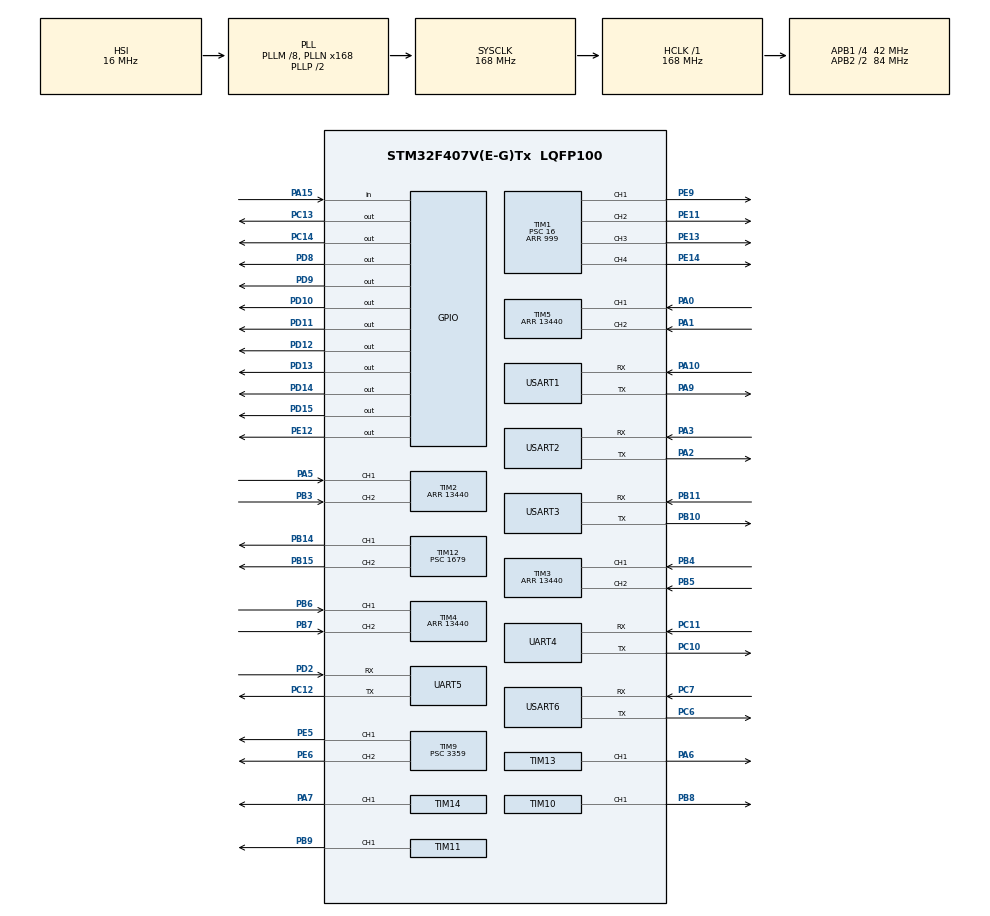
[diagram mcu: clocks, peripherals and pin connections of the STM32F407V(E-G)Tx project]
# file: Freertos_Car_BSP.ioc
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Dma.Request0=USART1_RX
Dma.Request1=USART1_TX
Dma.Request2=USART2_RX
Dma.USART1_RX.0.Direction=DMA_PERIPH_TO_MEMORY
Dma.USART1_RX.0.FIFOMode=DMA_FIFOMODE_DISABLE
Dma.USART1_RX.0.Instance=DMA2_Stream2
Dma.USART1_RX.0.MemDataAlignment=DMA_MDATAALIGN_BYTE
Dma.USART1_RX.0.MemInc=DMA_MINC_ENABLE
Dma.USART1_RX.0.Mode=DMA_NORMAL
Dma.USART1_RX.0.PeriphDataAlignment=DMA_PDATAALIGN_BYTE
Dma.USART1_RX.0.PeriphInc=DMA_PINC_DISABLE
Dma.USART1_RX.0.Priority=DMA_PRIORITY_MEDIUM
Dma.USART1_TX.1.Direction=DMA_MEMORY_TO_PERIPH
Dma.USART1_TX.1.FIFOMode=DMA_FIFOMODE_DISABLE
Dma.USART1_TX.1.Instance=DMA2_Stream7
Dma.USART1_TX.1.MemDataAlignment=DMA_MDATAALIGN_BYTE
Dma.USART1_TX.1.MemInc=DMA_MINC_ENABLE
Dma.USART1_TX.1.Mode=DMA_NORMAL
Dma.USART1_TX.1.PeriphDataAlignment=DMA_PDATAALIGN_BYTE
Dma.USART1_TX.1.PeriphInc=DMA_PINC_DISABLE
Dma.USART1_TX.1.Priority=DMA_PRIORITY_MEDIUM
Dma.USART2_RX.2.Direction=DMA_PERIPH_TO_MEMORY
Dma.USART2_RX.2.FIFOMode=DMA_FIFOMODE_DISABLE
Dma.USART2_RX.2.Instance=DMA1_Stream5
Dma.USART2_RX.2.MemDataAlignment=DMA_MDATAALIGN_BYTE
Dma.USART2_RX.2.MemInc=DMA_MINC_ENABLE
Dma.USART2_RX.2.Mode=DMA_NORMAL
Dma.USART2_RX.2.PeriphDataAlignment=DMA_PDATAALIGN_BYTE
Dma.USART2_RX.2.PeriphInc=DMA_PINC_DISABLE
Dma.USART2_RX.2.Priority=DMA_PRIORITY_MEDIUM
FREERTOS.Tasks01=defaultTask,-3,128,StartDefaultTask,Default,NULL,Dynamic,NULL,NULL;myTask_key,1,128,key_Task,Default,NULL,Dynamic,NULL,NULL;myTask_led,-3,128,led_Task,Default,NULL,Dynamic,NULL,NULL;myTask_IMU,0,256,IMU_Task,Default,NULL,Dynamic,NULL,NULL;myTask_debug,-2,512,deubg_Task,Default,NULL,Dynamic,NULL,NULL;myTask_motor,1,256,motor_Task,Default,NULL,Dynamic,NULL,NULL;myTask_usart,0,512,usart_Task,Default,NULL,Dynamic,NULL,NULL;myTask_oled,-2,128,oled_Task,Default,NULL,Dynamic,NULL,NULL;myTask_servo,1,256,servo_Task,Default,NULL,Dynamic,NULL,NULL;myTask_speed,2,128,speed_Task,Default,NULL,Dynamic,NULL,NULL;myTask_pid,2,256,pid_Task,Default,NULL,Dynamic,NULL,NULL;myTask_doing,2,512,doing_Task,Default,NULL,Dynamic,NULL,NULL
Mcu.Family=STM32F4
Mcu.Name=STM32F407V(E-G)Tx
Mcu.Package=LQFP100
NVIC.DMA1_Stream5_IRQn=true\:5\:0\:true\:false\:true\:true\:false\:true
NVIC.DMA2_Stream2_IRQn=true\:5\:0\:false\:false\:true\:true\:false\:true
NVIC.DMA2_Stream7_IRQn=true\:5\:0\:false\:false\:true\:true\:false\:true
NVIC.PriorityGroup=NVIC_PRIORITYGROUP_4
NVIC.TIM2_IRQn=true\:5\:0\:false\:false\:true\:true\:true\:true
NVIC.TIM3_IRQn=true\:5\:0\:false\:false\:true\:true\:true\:true
NVIC.TIM4_IRQn=true\:5\:0\:false\:false\:true\:true\:true\:true
NVIC.TIM5_IRQn=true\:5\:0\:false\:false\:true\:true\:true\:true
NVIC.TIM6_DAC_IRQn=true\:5\:0\:false\:false\:true\:true\:true\:true
NVIC.TIM7_IRQn=true\:0\:0\:false\:false\:true\:false\:false\:true
NVIC.TimeBase=TIM7_IRQn
NVIC.TimeBaseIP=TIM7
NVIC.UART4_IRQn=true\:5\:0\:false\:false\:true\:true\:true\:true
NVIC.UART5_IRQn=true\:5\:0\:false\:false\:true\:true\:true\:true
NVIC.USART1_IRQn=true\:5\:0\:true\:false\:true\:true\:true\:true
NVIC.USART2_IRQn=true\:5\:0\:true\:false\:true\:true\:true\:true
NVIC.USART3_IRQn=true\:5\:0\:false\:false\:true\:true\:true\:true
NVIC.USART6_IRQn=true\:5\:0\:false\:false\:true\:true\:true\:true
PA0-WKUP.Signal=S_TIM5_CH1
PA1.Signal=S_TIM5_CH2
PA10.Mode=Asynchronous
PA10.Signal=USART1_RX
PA13.Mode=Serial_Wire
PA13.Signal=SYS_JTMS-SWDIO
PA14.Mode=Serial_Wire
PA14.Signal=SYS_JTCK-SWCLK
PA15.GPIO_PuPd=GPIO_PULLUP
PA15.Signal=GPIO_Input
PA2.Mode=Asynchronous
PA2.Signal=USART2_TX
PA3.Mode=Asynchronous
PA3.Signal=USART2_RX
PA5.Signal=S_TIM2_CH1_ETR
PA6.Signal=S_TIM13_CH1
PA7.Signal=S_TIM14_CH1
PA9.Mode=Asynchronous
PA9.Signal=USART1_TX
PB10.Mode=Asynchronous
PB10.Signal=USART3_TX
PB11.Mode=Asynchronous
PB11.Signal=USART3_RX
PB14.Signal=S_TIM12_CH1
PB15.Signal=S_TIM12_CH2
PB3.Signal=S_TIM2_CH2
PB4.Signal=S_TIM3_CH1
PB5.Signal=S_TIM3_CH2
PB6.Signal=S_TIM4_CH1
PB7.Signal=S_TIM4_CH2
PB8.Signal=S_TIM10_CH1
PB9.Signal=S_TIM11_CH1
PC10.Mode=Asynchronous
PC10.Signal=UART4_TX
PC11.Mode=Asynchronous
PC11.Signal=UART4_RX
PC12.Mode=Asynchronous
PC12.Signal=UART5_TX
PC13-ANTI_TAMP.GPIO_Speed=GPIO_SPEED_FREQ_LOW
PC13-ANTI_TAMP.Signal=GPIO_Output
PC14-OSC32_IN.Signal=GPIO_Output
PC6.Mode=Asynchronous
PC6.Signal=USART6_TX
PC7.Mode=Asynchronous
PC7.Signal=USART6_RX
PD10.Signal=GPIO_Output
PD11.Signal=GPIO_Output
PD12.Signal=GPIO_Output
PD13.Signal=GPIO_Output
PD14.Signal=GPIO_Output
PD15.Signal=GPIO_Output
PD2.Mode=Asynchronous
PD2.Signal=UART5_RX
PD8.Signal=GPIO_Output
PD9.Signal=GPIO_Output
PE11.Signal=S_TIM1_CH2
PE12.Signal=GPIO_Output
PE13.Signal=S_TIM1_CH3
PE14.Signal=S_TIM1_CH4
PE5.Signal=S_TIM9_CH1
PE6.Signal=S_TIM9_CH2
PE9.Signal=S_TIM1_CH1
PH0-OSC_IN.Mode=HSE-External-Oscillator
PH0-OSC_IN.Signal=RCC_OSC_IN
PH1-OSC_OUT.Mode=HSE-External-Oscillator
PH1-OSC_OUT.Signal=RCC_OSC_OUT
ProjectManager.HeapSize=0x200
ProjectManager.StackSize=0x400
ProjectManager.TargetToolchain=MDK-ARM V5.27
RCC.48MHZClocksFreq_Value=84000000
RCC.AHBFreq_Value=168000000
RCC.APB1CLKDivider=RCC_HCLK_DIV4
RCC.APB1Freq_Value=42000000
RCC.APB1TimFreq_Value=84000000
RCC.APB2CLKDivider=RCC_HCLK_DIV2
RCC.APB2Freq_Value=84000000
RCC.APB2TimFreq_Value=168000000
RCC.CortexFreq_Value=168000000
RCC.HCLKFreq_Value=168000000
RCC.HSE_VALUE=8000000
RCC.HSI_VALUE=16000000
RCC.LSE_VALUE=32768
RCC.PLLM=8
RCC.PLLN=168
RCC.SYSCLKFreq_VALUE=168000000
RCC.SYSCLKSource=RCC_SYSCLKSOURCE_PLLCLK
RCC.VCOOutputFreq_Value=336000000
SH.S_TIM10_CH1.0=TIM10_CH1,PWM Generation1 CH1
SH.S_TIM11_CH1.0=TIM11_CH1,PWM Generation1 CH1
SH.S_TIM12_CH1.0=TIM12_CH1,PWM Generation1 CH1
SH.S_TIM12_CH2.0=TIM12_CH2,PWM Generation2 CH2
SH.S_TIM13_CH1.0=TIM13_CH1,PWM Generation1 CH1
SH.S_TIM14_CH1.0=TIM14_CH1,PWM Generation1 CH1
SH.S_TIM1_CH1.0=TIM1_CH1,PWM Generation1 CH1
SH.S_TIM1_CH2.0=TIM1_CH2,PWM Generation2 CH2
SH.S_TIM1_CH3.0=TIM1_CH3,PWM Generation3 CH3
SH.S_TIM1_CH4.0=TIM1_CH4,PWM Generation4 CH4
SH.S_TIM2_CH1_ETR.0=TIM2_CH1,Encoder_Interface
SH.S_TIM2_CH2.0=TIM2_CH2,Encoder_Interface
SH.S_TIM3_CH1.0=TIM3_CH1,Encoder_Interface
SH.S_TIM3_CH2.0=TIM3_CH2,Encoder_Interface
SH.S_TIM4_CH1.0=TIM4_CH1,Encoder_Interface
SH.S_TIM4_CH2.0=TIM4_CH2,Encoder_Interface
SH.S_TIM5_CH1.0=TIM5_CH1,Encoder_Interface
SH.S_TIM5_CH2.0=TIM5_CH2,Encoder_Interface
SH.S_TIM9_CH1.0=TIM9_CH1,PWM Generation1 CH1
SH.S_TIM9_CH2.0=TIM9_CH2,PWM Generation2 CH2
TIM1.Channel-PWM\ Generation1\ CH1=TIM_CHANNEL_1
TIM1.Channel-PWM\ Generation2\ CH2=TIM_CHANNEL_2
TIM1.Channel-PWM\ Generation3\ CH3=TIM_CHANNEL_3
TIM1.Channel-PWM\ Generation4\ CH4=TIM_CHANNEL_4
TIM1.Period=999
TIM1.Prescaler=16
TIM10.Channel=TIM_CHANNEL_1
TIM10.Period=999
TIM10.Prescaler=3359
TIM11.Channel=TIM_CHANNEL_1
TIM11.Period=999
TIM11.Prescaler=3359
TIM12.Channel-PWM\ Generation1\ CH1=TIM_CHANNEL_1
TIM12.Channel-PWM\ Generation2\ CH2=TIM_CHANNEL_2
TIM12.Period=999
TIM12.Prescaler=1679
TIM13.Channel=TIM_CHANNEL_1
TIM13.Period=999
TIM13.Prescaler=1679
TIM14.Channel=TIM_CHANNEL_1
TIM14.Period=999
TIM14.Prescaler=1679
TIM2.EncoderMode=TIM_ENCODERMODE_TI12
TIM2.Period=13440
TIM3.EncoderMode=TIM_ENCODERMODE_TI12
TIM3.Period=13440
TIM4.EncoderMode=TIM_ENCODERMODE_TI12
TIM4.Period=13440
TIM5.EncoderMode=TIM_ENCODERMODE_TI12
TIM5.Period=13440
TIM6.Period=9999
TIM6.Prescaler=83
TIM9.Channel-PWM\ Generation1\ CH1=TIM_CHANNEL_1
TIM9.Channel-PWM\ Generation2\ CH2=TIM_CHANNEL_2
TIM9.Period=999
TIM9.Prescaler=3359
UART4.VirtualMode=Asynchronous
UART5.VirtualMode=Asynchronous
USART1.VirtualMode=VM_ASYNC
USART2.VirtualMode=VM_ASYNC
USART3.VirtualMode=VM_ASYNC
USART6.VirtualMode=VM_ASYNC
VP_FREERTOS_VS_CMSIS_V1.Mode=CMSIS_V1
VP_SYS_VS_tim7.Mode=TIM7
VP_TIM10_VS_ClockSourceINT.Mode=Enable_Timer
VP_TIM11_VS_ClockSourceINT.Mode=Enable_Timer
VP_TIM13_VS_ClockSourceINT.Mode=Enable_Timer
VP_TIM14_VS_ClockSourceINT.Mode=Enable_Timer
VP_TIM6_VS_ClockSourceINT.Mode=Enable_Timer
board=custom

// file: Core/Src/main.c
/* USER CODE BEGIN Header */
/**
  ******************************************************************************
  * @file           : main.c
  * @brief          : Main program body
  ******************************************************************************
  * @attention

  ******************************************************************************
  */
/* USER CODE END Header */
#include "main.h"
#include "cmsis_os.h"
#include "dma.h"
#include "tim.h"
#include "usart.h"
#include "gpio.h"

/* USER CODE BEGIN Includes */
#include "JY61.h"
#include "motor_ctrl.h"
#include "servo.h"
/* USER CODE END Includes */

/* USER CODE BEGIN PV */
extern uint8_t IMU_date[100];
extern Car_status car_status;
/* USER CODE END PV */

void SystemClock_Config(void);
void MX_FREERTOS_Init(void);

int main(void)
{

  /* MCU Configuration--------------------------------------------------------*/

  /* Reset of all peripherals, Initializes the Flash interface and the Systick. */
  HAL_Init();

  /* Configure the system clock */
  SystemClock_Config();

  /* Initialize all configured peripherals */
  MX_GPIO_Init();
  MX_DMA_Init();
  MX_USART1_UART_Init();
  MX_USART2_UART_Init();
  MX_TIM1_Init();
  MX_TIM2_Init();
  MX_TIM3_Init();
  MX_TIM4_Init();
  MX_TIM5_Init();
  MX_TIM6_Init();
  MX_TIM9_Init();
  MX_TIM10_Init();
  MX_TIM11_Init();
  MX_TIM12_Init();
  MX_TIM13_Init();
  MX_TIM14_Init();
  MX_UART4_Init();
  MX_UART5_Init();
  MX_USART3_UART_Init();
  MX_USART6_UART_Init();
  /* USER CODE BEGIN 2 */
    motor_tim_config();

    servo_config();

    HAL_TIM_Base_Start_IT(&htim6);

    printf("BSP初始化成功!\n\n");
    WitInit(WIT_PROTOCOL_NORMAL, 0x50);
	WitSerialWriteRegister(SensorUartSend);
	WitRegisterCallBack(SensorDataUpdata);
	WitDelayMsRegister(Delayms);

    HAL_UART_Receive_DMA(&huart2,IMU_date,100);

  /* USER CODE END 2 */

  /* Call init function for freertos objects (in freertos.c) */
  MX_FREERTOS_Init();
  /* Start scheduler */
  osKernelStart();

  /* We should never get here as control is now taken by the scheduler */
  /* Infinite loop */
  while (1)
  {

  }
}

void SystemClock_Config(void)
{
  RCC_OscInitTypeDef RCC_OscInitStruct = {0};
  RCC_ClkInitTypeDef RCC_ClkInitStruct = {0};

  /** Configure the main internal regulator output voltage
  */
  __HAL_RCC_PWR_CLK_ENABLE();
  __HAL_PWR_VOLTAGESCALING_CONFIG(PWR_REGULATOR_VOLTAGE_SCALE1);
  /** Initializes the RCC Oscillators according to the specified parameters
  * in the RCC_OscInitTypeDef structure.
  */
  RCC_OscInitStruct.OscillatorType = RCC_OSCILLATORTYPE_HSI;
  RCC_OscInitStruct.HSIState = RCC_HSI_ON;
  RCC_OscInitStruct.HSICalibrationValue = RCC_HSICALIBRATION_DEFAULT;
  RCC_OscInitStruct.PLL.PLLState = RCC_PLL_ON;
  RCC_OscInitStruct.PLL.PLLSource = RCC_PLLSOURCE_HSI;
  RCC_OscInitStruct.PLL.PLLM = 8;
  RCC_OscInitStruct.PLL.PLLN = 168;
  RCC_OscInitStruct.PLL.PLLP = RCC_PLLP_DIV2;
  RCC_OscInitStruct.PLL.PLLQ = 4;
  if (HAL_RCC_OscConfig(&RCC_OscInitStruct) != HAL_OK)
  {
    Error_Handler();
  }
  /** Initializes the CPU, AHB and APB buses clocks
  */
  RCC_ClkInitStruct.ClockType = RCC_CLOCKTYPE_HCLK|RCC_CLOCKTYPE_SYSCLK
                              |RCC_CLOCKTYPE_PCLK1|RCC_CLOCKTYPE_PCLK2;
  RCC_ClkInitStruct.SYSCLKSource = RCC_SYSCLKSOURCE_PLLCLK;
  RCC_ClkInitStruct.AHBCLKDivider = RCC_SYSCLK_DIV1;
  RCC_ClkInitStruct.APB1CLKDivider = RCC_HCLK_DIV4;
  RCC_ClkInitStruct.APB2CLKDivider = RCC_HCLK_DIV2;

  if (HAL_RCC_ClockConfig(&RCC_ClkInitStruct, FLASH_LATENCY_5) != HAL_OK)
  {
    Error_Handler();
  }
}

 /**
  * @brief  Period elapsed callback in non blocking mode
  * @note   This function is called  when TIM7 interrupt took place, inside
  * HAL_TIM_IRQHandler(). It makes a direct call to HAL_IncTick() to increment
  * a global variable "uwTick" used as application time base.
  * @param  htim : TIM handle
  * @retval None
  */
void HAL_TIM_PeriodElapsedCallback(TIM_HandleTypeDef *htim)
{
  if (htim->Instance == TIM7) {
    HAL_IncTick();
  }
  /* USER CODE BEGIN Callback 1 */
    if(htim->Instance == TIM6){
        speed_get();

  }
  /* USER CODE END Callback 1 */
}

void Error_Handler(void)
{
  __disable_irq();
  while (1)
  {
  }
}

/************************ (C) COPYRIGHT STMicroelectronics *****END OF FILE****/

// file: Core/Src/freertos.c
/* USER CODE BEGIN Header */
/**
 ******************************************************************************
 * File Name          : freertos.c
 * Description        : Code for freertos applications
 ******************************************************************************
 * @attention
 *
 * <h2><center>&copy; Copyright (c) 2023 STMicroelectronics.
 * All rights reserved.</center></h2>
 *
 * This software component is licensed by ST under Ultimate Liberty license
 * SLA0044, the "License"; You may not use this file except in compliance with
 * the License. You may obtain a copy of the License at:
 *                             www.st.com/SLA0044
 *
 ******************************************************************************
 */
/* USER CODE END Header */

#include "FreeRTOS.h"
#include "task.h"
#include "main.h"
#include "cmsis_os.h"

/* USER CODE BEGIN Includes */
#include "soft_user.h"
#include "string.h"
#include "JY61.h"
/* USER CODE END Includes */

/* USER CODE BEGIN PTD */

char task_test_text[] = "简单的测试任务";
/* USER CODE END PTD */

/* USER CODE BEGIN PD */
#define Led_Toggle GPIOC->ODR ^= GPIO_PIN_13
#define IMU_speed 80
#define task_test 0X00
/* USER CODE END PD */

/* USER CODE BEGIN PM */
extern UART_HandleTypeDef huart1;
extern UART_HandleTypeDef huart2;

extern char s_cDataUpdate, s_cCmd;

uint8_t OS_status = 0;
uint8_t debug_date[600] = {0};
uint8_t IMU_date[IMU_speed] = {0};

Car_status car_status={0,0,0,0,0,0,0,0,0,0,0,0,0,0};

/* USER CODE END PM */

/* USER CODE BEGIN Variables */
SemaphoreHandle_t IMUdate_RX_Sem_Handle = NULL;
/* USER CODE END Variables */
osThreadId defaultTaskHandle;
osThreadId myTask_keyHandle;
osThreadId myTask_ledHandle;
osThreadId myTask_IMUHandle;
osThreadId myTask_debugHandle;
osThreadId myTask_motorHandle;
osThreadId myTask_usartHandle;
osThreadId myTask_oledHandle;
osThreadId myTask_servoHandle;
osThreadId myTask_speedHandle;
osThreadId myTask_pidHandle;
osThreadId myTask_doingHandle;

void StartDefaultTask(void const * argument);
void key_Task(void const * argument);
void led_Task(void const * argument);
void IMU_Task(void const * argument);
void deubg_Task(void const * argument);
void motor_Task(void const * argument);
void usart_Task(void const * argument);
void oled_Task(void const * argument);
void servo_Task(void const * argument);
void speed_Task(void const * argument);
void pid_Task(void const * argument);
void doing_Task(void const * argument);

void MX_FREERTOS_Init(void); /* (MISRA C 2004 rule 8.1) */

/* GetIdleTaskMemory prototype (linked to static allocation support) */
void vApplicationGetIdleTaskMemory( StaticTask_t **ppxIdleTaskTCBBuffer, StackType_t **ppxIdleTaskStackBuffer, uint32_t *pulIdleTaskStackSize );

/* USER CODE BEGIN GET_IDLE_TASK_MEMORY */
static StaticTask_t xIdleTaskTCBBuffer;
static StackType_t xIdleStack[configMINIMAL_STACK_SIZE];

void vApplicationGetIdleTaskMemory(StaticTask_t **ppxIdleTaskTCBBuffer, StackType_t **ppxIdleTaskStackBuffer, uint32_t *pulIdleTaskStackSize)
{
  *ppxIdleTaskTCBBuffer = &xIdleTaskTCBBuffer;
  *ppxIdleTaskStackBuffer = &xIdleStack[0];
  *pulIdleTaskStackSize = configMINIMAL_STACK_SIZE;
  /* place for user code */
}
/* USER CODE END GET_IDLE_TASK_MEMORY */

void MX_FREERTOS_Init(void) {

  /* USER CODE BEGIN RTOS_SEMAPHORES */
  /* add semaphores, ... */
  IMUdate_RX_Sem_Handle = xSemaphoreCreateBinary();
  if (NULL != IMUdate_RX_Sem_Handle)
    printf("IMUdate_RX_Sem_Handle二值信号量创建成功!\r\n");
  /* USER CODE END RTOS_SEMAPHORES */

  /* Create the thread(s) */
  /* definition and creation of defaultTask */
  osThreadDef(defaultTask, StartDefaultTask, osPriorityIdle, 0, 128);
  defaultTaskHandle = osThreadCreate(osThread(defaultTask), NULL);

  /* definition and creation of myTask_key */
  osThreadDef(myTask_key, key_Task, osPriorityAboveNormal, 0, 128);
  myTask_keyHandle = osThreadCreate(osThread(myTask_key), NULL);

  /* definition and creation of myTask_led */
  osThreadDef(myTask_led, led_Task, osPriorityIdle, 0, 128);
  myTask_ledHandle = osThreadCreate(osThread(myTask_led), NULL);

  /* definition and creation of myTask_IMU */
  osThreadDef(myTask_IMU, IMU_Task, osPriorityNormal, 0, 256);
  myTask_IMUHandle = osThreadCreate(osThread(myTask_IMU), NULL);

  /* definition and creation of myTask_debug */
  osThreadDef(myTask_debug, deubg_Task, osPriorityLow, 0, 512);
  myTask_debugHandle = osThreadCreate(osThread(myTask_debug), NULL);

  /* definition and creation of myTask_motor */
  osThreadDef(myTask_motor, motor_Task, osPriorityAboveNormal, 0, 256);
  myTask_motorHandle = osThreadCreate(osThread(myTask_motor), NULL);

  /* definition and creation of myTask_usart */
  osThreadDef(myTask_usart, usart_Task, osPriorityNormal, 0, 512);
  myTask_usartHandle = osThreadCreate(osThread(myTask_usart), NULL);

  /* definition and creation of myTask_oled */
  osThreadDef(myTask_oled, oled_Task, osPriorityLow, 0, 128);
  myTask_oledHandle = osThreadCreate(osThread(myTask_oled), NULL);

  /* definition and creation of myTask_servo */
  osThreadDef(myTask_servo, servo_Task, osPriorityAboveNormal, 0, 256);
  myTask_servoHandle = osThreadCreate(osThread(myTask_servo), NULL);

  /* definition and creation of myTask_speed */
  osThreadDef(myTask_speed, speed_Task, osPriorityHigh, 0, 128);
  myTask_speedHandle = osThreadCreate(osThread(myTask_speed), NULL);

  /* definition and creation of myTask_pid */
  osThreadDef(myTask_pid, pid_Task, osPriorityHigh, 0, 256);
  myTask_pidHandle = osThreadCreate(osThread(myTask_pid), NULL);

  /* definition and creation of myTask_doing */
  osThreadDef(myTask_doing, doing_Task, osPriorityHigh, 0, 512);
  myTask_doingHandle = osThreadCreate(osThread(myTask_doing), NULL);

  /* USER CODE BEGIN RTOS_THREADS */
  /* add threads, ... */

  OS_status = 1;
  /* USER CODE END RTOS_THREADS */

}

void StartDefaultTask(void const * argument)
{
  /* USER CODE BEGIN StartDefaultTask */
  /* Infinite loop */
  for (;;)
  {
    Led_Toggle;

    osDelay(1000);
  }
  /* USER CODE END StartDefaultTask */
}

void key_Task(void const * argument)
{
  /* USER CODE BEGIN key_Task */
  /* Infinite loop */
  for (;;)
  {
    if ((GPIOA->IDR & (1 << 15)) == 0)
    {
      osDelay(10);
      if ((GPIOA->IDR & (1 << 15)) == 0)
      {
        while ((GPIOA->IDR & (1 << 15)) == 0)
          ;
        /*do something*/
        printf("按键触发\n");
        car_status.goal_speed[0]=0;
        car_status.goal_speed[1]=0;
        car_status.goal_speed[2]=0;
        car_status.goal_speed[3]=0;
      }
    }
    osDelay(1);
  }
  /* USER CODE END key_Task */
}

void led_Task(void const * argument)
{
  /* USER CODE BEGIN led_Task */
  /* Infinite loop */
  for (;;)
  {

    osDelay(1000);
  }
  /* USER CODE END led_Task */
}

void IMU_Task(void const * argument)
{
  /* USER CODE BEGIN IMU_Task */
  /* Infinite loop */
  int i;
  for (;;)
  {
    // 获取二值信号量 xSemaphore,没获取到则一直等待
    xSemaphoreTake(IMUdate_RX_Sem_Handle, portMAX_DELAY); /* 等待时间 */

    for (i = 0; i < IMU_speed; i++)
    {
      WitSerialDataIn(IMU_date[i]);
    }
    if (s_cDataUpdate)
    {
      for (i = 0; i < 3; i++)
      {
        car_status.IMU[i] = sReg[Roll + i] / 32768.0f * 180.0f;
      }
    }
    HAL_UART_Receive_DMA(&huart2, IMU_date, IMU_speed);
  }
  /* USER CODE END IMU_Task */
}

/* USER CODE BEGIN Header_deubg_Task */
/**
 * @brief 小车状态上传任务，使用串口一DMA发送，运行周期1000ms
 * @param argument: Not used
 * @retval None
 */
/* USER CODE END Header_deubg_Task */
void deubg_Task(void const * argument)
{
  /* USER CODE BEGIN deubg_Task */
  /* Infinite loop */
  for (;;)
  {
    char task_description[20];

    switch (car_status.task)
    {
    case task_test:
      strcpy(task_description, task_test_text);
      break;
    default:
      /*error*/
      break;
    }

    sprintf((char *)debug_date, "车身位置:X:%dcm  Y:%dcm\n\
                               \n车身状态: Pitch:%.2f   Roll:%.2f    Yaw:%.2f\n\
                               \n           四轮转速:     目标转速:\
                               \nMotor1:%d                %d\
                               \nMotor2:%d                %d\
                               \nMotor3:%d                %d\
                               \nMotor4:%d                %d\n\
                               \n当前任务: %s\n\n\n",
            car_status.ditance_x, car_status.ditance_y, car_status.IMU[0], car_status.IMU[1], car_status.IMU[2],
            car_status.Car_speed[0], car_status.goal_speed[0], car_status.Car_speed[1], car_status.goal_speed[1],
            car_status.Car_speed[2], car_status.goal_speed[2], car_status.Car_speed[3], car_status.goal_speed[3], task_description);

    HAL_UART_Transmit_DMA(&huart1, debug_date, strlen((char *)debug_date));

    osDelay(1000);

  }
  /* USER CODE END deubg_Task */
}

void motor_Task(void const * argument)
{
  for (;;)
  {
    osDelay(1);
  }
}

void usart_Task(void const * argument)
{
  for (;;)
  {
    osDelay(1);
  }
}

void oled_Task(void const * argument)
{
  for (;;)
  {
    osDelay(1);
  }
}

void servo_Task(void const * argument)
{
  for (;;)
  {
    osDelay(1);
  }
}

void speed_Task(void const * argument)
{
  for (;;)
  {
    osDelay(1);
  }
}

void pid_Task(void const * argument)
{
  for (;;)
  {
    osDelay(1);
  }
}

void doing_Task(void const * argument)
{
  for (;;)
  {
    osDelay(1);
  }
}

/************************ (C) COPYRIGHT STMicroelectronics *****END OF FILE****/
